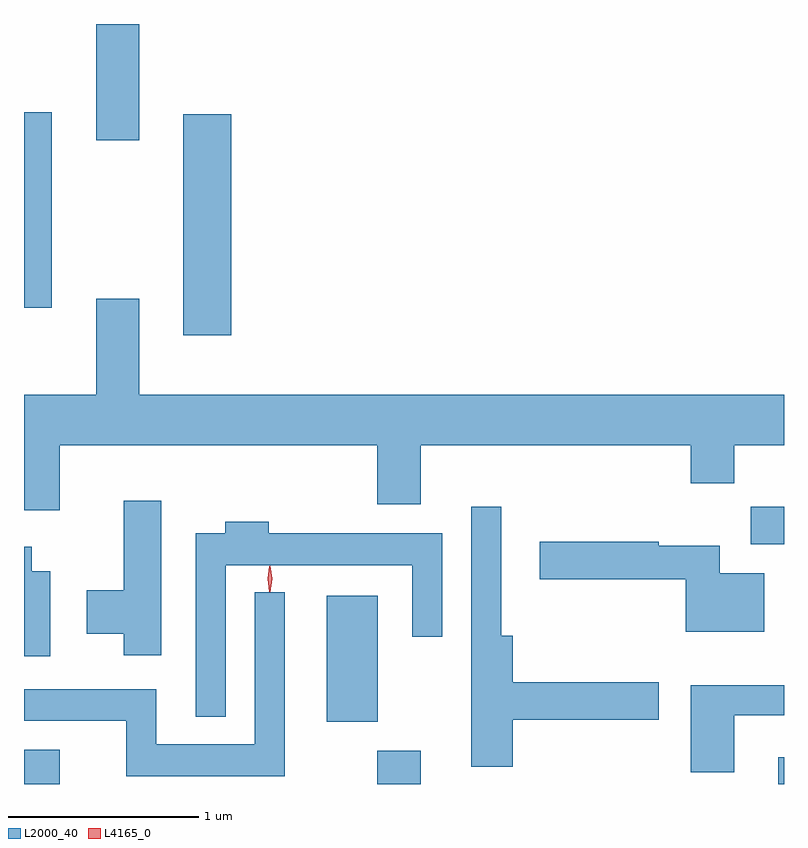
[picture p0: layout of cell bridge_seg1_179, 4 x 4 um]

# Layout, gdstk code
import gdstk
lib = gdstk.Library(unit=1e-6, precision=1e-09)
def R(c, l, rs):  # rectangles x0, y0, x1, y1
    for r in rs: c.add(gdstk.rectangle(r[:2], r[2:], *l))
def P(c, l, *ps):  # polygons
    for p in ps: c.add(gdstk.Polygon(p, *l))
L2000_40 = (2000, 40)
L4165_0 = (4165, 0)

bridge_seg1_179 = lib.new_cell('bridge_seg1_179')
R(bridge_seg1_179, L2000_40, [(804.922,968.834,805.109,969.014), (806.781,968.834,807.009,969.009), (808.891,968.834,808.922,968.974), (806.516,969.161,806.784,969.824), (808.746,970.096,808.922,970.294), (805.761,971.196,806.014,972.359), (804.922,971.341,805.069,972.369), (805.301,972.221,805.529,972.834)])
P(bridge_seg1_179, L2000_40, [(805.109,970.616),(806.781,970.616),(806.781,970.306),(807.009,970.306),(807.009,970.616),(808.431,970.616),(808.431,970.416),(808.659,970.416),(808.659,970.616),(808.922,970.616),(808.922,970.884),(805.529,970.884),(805.529,971.389),(805.301,971.389),(805.301,970.884),(804.922,970.884),(804.922,970.276),(805.109,970.276)],
  [(805.644,970.324),(805.446,970.324),(805.446,969.854),(805.251,969.854),(805.251,969.626),(805.446,969.626),(805.446,969.511),(805.644,969.511)],
  [(807.494,969.171),(808.264,969.171),(808.264,969.369),(807.494,969.369),(807.494,969.614),(807.434,969.614),(807.434,970.293),(807.276,970.293),(807.276,968.926),(807.494,968.926)],
  [(805.984,969.986),(806.966,969.986),(806.966,969.608),(807.124,969.608),(807.124,970.154),(806.209,970.154),(806.209,970.214),(805.981,970.214),(805.981,970.154),(805.826,970.154),(805.826,969.188),(805.984,969.188)],
  [(808.819,969.944),(808.584,969.944),(808.584,970.089),(808.264,970.089),(808.264,970.109),(807.636,970.109),(807.636,969.911),(808.406,969.911),(808.406,969.636),(808.819,969.636)],
  [(805.059,969.954),(804.964,969.954),(804.964,970.084),(804.922,970.084),(804.922,969.506),(805.059,969.506)],
  [(806.294,969.843),(806.136,969.843),(806.136,969.044),(805.619,969.044),(805.619,969.334),(804.922,969.334),(804.922,969.166),(805.461,969.166),(805.461,968.876),(806.294,968.876)],
  [(808.659,969.196),(808.922,969.196),(808.922,969.354),(808.431,969.354),(808.431,968.896),(808.659,968.896)])
P(bridge_seg1_179, L4165_0, [(806.217,969.844),(806.208,969.913),(806.217,969.982),(806.218,969.983),(806.218,969.982),(806.228,969.913),(806.218,969.844),(806.218,969.844)],
  [(806.214,969.847),(806.214,969.847),(806.204,969.914),(806.214,969.98),(806.214,969.981),(806.215,969.98),(806.224,969.914),(806.215,969.847)])

lib.write_gds('bridge_seg1_179.gds')
